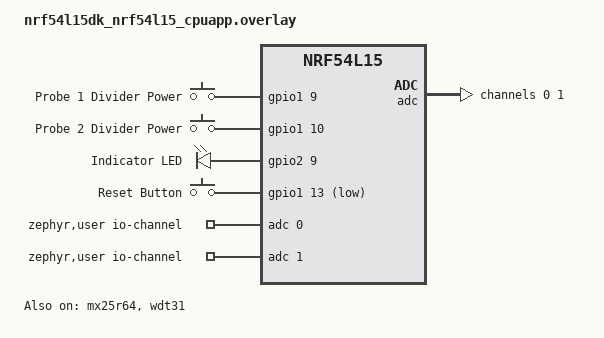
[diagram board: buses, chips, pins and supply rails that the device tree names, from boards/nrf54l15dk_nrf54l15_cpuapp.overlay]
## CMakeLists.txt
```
#
# Copyright (c) 2021 Nordic Semiconductor ASA
#
# SPDX-License-Identifier: LicenseRef-Nordic-5-Clause
#

cmake_minimum_required(VERSION 3.20.0)

find_package(Zephyr HINTS $ENV{ZEPHYR_BASE})

project(dual-temperature-sensor)

# Enable GNU STD support.
include(${ZEPHYR_CONNECTEDHOMEIP_MODULE_DIR}/config/nrfconnect/app/enable-gnu-std.cmake)

# NORDIC SDK APP START

include(cmake/source_common.cmake)
include(cmake/data_model.cmake)
include(cmake/zap_helpers.cmake)
ncs_get_zap_parent_dir(ZAP_PARENT_DIR)

target_include_directories(app PRIVATE
    src
    ${ZAP_PARENT_DIR}
)

target_sources(app PRIVATE
    src/app_task.cpp
    src/main.cpp
    src/DeviceInfoProviderImpl.cpp
)

ncs_configure_data_model()
# NORDIC SDK APP END
```

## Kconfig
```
#
# Copyright (c) 2022 Nordic Semiconductor
#
# SPDX-License-Identifier: LicenseRef-Nordic-5-Clause
#
mainmenu "Matter nRF Connect Template Example Application"

# Sample configuration used for Thread networking
if OPENTHREAD

choice OPENTHREAD_NORDIC_LIBRARY_CONFIGURATION
	default OPENTHREAD_NORDIC_LIBRARY_MTD
endchoice

choice OPENTHREAD_DEVICE_TYPE
	default OPENTHREAD_MTD
endchoice

endif # OPENTHREAD

source "${ZEPHYR_CONNECTEDHOMEIP_MODULE_DIR}/config/nrfconnect/chip-module/Kconfig.features"
source "${ZEPHYR_CONNECTEDHOMEIP_MODULE_DIR}/config/nrfconnect/chip-module/Kconfig.defaults"
source "${ZEPHYR_NRF_MODULE_DIR}/samples/matter/common/src/Kconfig"
source "Kconfig.zephyr"
```

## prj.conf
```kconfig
#
# Copyright (c) 2021 Nordic Semiconductor ASA
#
# SPDX-License-Identifier: LicenseRef-Nordic-5-Clause
#

# This sample uses Kconfig.defaults to set options common for all
# samples. This file should contain only options specific for this sample
# or overrides of default values.

# Enable CHIP
CONFIG_CHIP=y
CONFIG_CHIP_PROJECT_CONFIG="src/chip_project_config.h"

# 32768 == 0x8000 (example Product ID added temporaly,
# but it must be changed with proper PID from the list:
# https://github.com/project-chip/connectedhomeip/blob/482e6fd03196a6de45465a90003947ef4b86e0b1/docs/examples/discussion/PID_allocation_for_example_apps.md)
CONFIG_CHIP_DEVICE_PRODUCT_ID=32768
CONFIG_STD_CPP17=y

# Enable Matter pairing automatically on application start.
CONFIG_CHIP_ENABLE_PAIRING_AUTOSTART=y

# Enable Matter extended announcement and increase duration to 1 hour.
CONFIG_CHIP_BLE_EXT_ADVERTISING=y
CONFIG_CHIP_BLE_ADVERTISING_DURATION=60

# Add support for LEDs and buttons on Nordic development kits
CONFIG_DK_LIBRARY=n

# Bluetooth Low Energy configuration
CONFIG_BT_DEVICE_NAME="DualTempSensor"

# Other settings
CONFIG_THREAD_NAME=y
CONFIG_MPU_STACK_GUARD=y
CONFIG_RESET_ON_FATAL_ERROR=n
CONFIG_CHIP_LIB_SHELL=y
CONFIG_NCS_SAMPLE_MATTER_TEST_SHELL=y

# Disable NFC onboarding
CONFIG_CHIP_NFC_ONBOARDING_PAYLOAD=n

# Enable Factory Data feature
CONFIG_CHIP_FACTORY_DATA=y
CONFIG_CHIP_FACTORY_DATA_BUILD=y

CONFIG_GPIO=y
CONFIG_ADC=y

CONFIG_USE_SEGGER_RTT=y
CONFIG_LOG_MODE_MINIMAL=n
CONFIG_LOG_MODE_IMMEDIATE=y
CONFIG_LOG_BACKEND_RTT=y

CONFIG_CHIP_PERSISTENT_SUBSCRIPTIONS=n

CONFIG_CLOCK_CONTROL_NRF_K32SRC_XTAL=y
CONFIG_CLOCK_CONTROL_NRF_K32SRC_RC=n

CONFIG_BT_RX_STACK_SIZE=2048

CONFIG_OPENTHREAD_DEFAULT_TX_POWER=8
```

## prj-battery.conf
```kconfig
#
# Copyright (c) 2021 Nordic Semiconductor ASA
#
# SPDX-License-Identifier: LicenseRef-Nordic-5-Clause
#

# This sample uses Kconfig.defaults to set options common for all
# samples. This file should contain only options specific for this sample
# or overrides of default values.

# Enable CHIP
CONFIG_CHIP=y
CONFIG_CHIP_PROJECT_CONFIG="src/chip_project_config.h"

# Configure ZAP file name
CONFIG_NCS_SAMPLE_MATTER_ZAP_FILE_PATH="${APPLICATION_CONFIG_DIR}/src/default_zap/template.zap"

# 32768 == 0x8000 (example Product ID added temporaly,
# but it must be changed with proper PID from the list:
# https://github.com/project-chip/connectedhomeip/blob/482e6fd03196a6de45465a90003947ef4b86e0b1/docs/examples/discussion/PID_allocation_for_example_apps.md)
CONFIG_CHIP_DEVICE_PRODUCT_ID=32768
CONFIG_STD_CPP17=y

# Enable Matter pairing automatically on application start.
CONFIG_CHIP_ENABLE_PAIRING_AUTOSTART=y

# Enable Matter extended announcement and increase duration to 1 hour.
CONFIG_CHIP_BLE_EXT_ADVERTISING=y
CONFIG_CHIP_BLE_ADVERTISING_DURATION=60

# Add support for LEDs and buttons on Nordic development kits
CONFIG_DK_LIBRARY=n

# Bluetooth Low Energy configuration
CONFIG_BT_DEVICE_NAME="DualTempSensor"

# Other settings
CONFIG_THREAD_NAME=y
CONFIG_MPU_STACK_GUARD=y
CONFIG_RESET_ON_FATAL_ERROR=n
CONFIG_CHIP_LIB_SHELL=y
CONFIG_NCS_SAMPLE_MATTER_TEST_SHELL=y

# Disable NFC onboarding
CONFIG_CHIP_NFC_ONBOARDING_PAYLOAD=n

# Reduce application size
CONFIG_USE_SEGGER_RTT=y

# Enable Factory Data feature
CONFIG_CHIP_FACTORY_DATA=y
CONFIG_CHIP_FACTORY_DATA_BUILD=y

CONFIG_GPIO=y
CONFIG_ADC=y

# Enabling low power
CONFIG_PM_DEVICE=y

CONFIG_OPENTHREAD_MTD=y
CONFIG_OPENTHREAD_NORDIC_LIBRARY_MTD=y

CONFIG_CHIP_ENABLE_ICD_SUPPORT=y
CONFIG_CHIP_ICD_LIT_SUPPORT=y

CONFIG_RAM_POWER_DOWN_LIBRARY=y

CONFIG_LOG=y
CONFIG_LOG_MODE_MINIMAL=y
CONFIG_LOG_MODE_IMMEDIATE=y
CONFIG_LOG_BACKEND_RTT=y

CONFIG_CHIP_PERSISTENT_SUBSCRIPTIONS=y

CONFIG_CLOCK_CONTROL_NRF_K32SRC_RC=y
CONFIG_CLOCK_CONTROL_NRF_K32SRC_XTAL=n
CONFIG_CLOCK_CONTROL_NRF_K32SRC_RC_CALIBRATION=y
CONFIG_CLOCK_CONTROL_NRF_K32SRC_500PPM=y

CONFIG_BT_RX_STACK_SIZE=2048
```

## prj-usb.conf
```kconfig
#
# Copyright (c) 2021 Nordic Semiconductor ASA
#
# SPDX-License-Identifier: LicenseRef-Nordic-5-Clause
#

# This sample uses Kconfig.defaults to set options common for all
# samples. This file should contain only options specific for this sample
# or overrides of default values.

# Enable CHIP
CONFIG_CHIP=y
CONFIG_CHIP_PROJECT_CONFIG="src/chip_project_config.h"

# Configure ZAP file name
CONFIG_NCS_SAMPLE_MATTER_ZAP_FILE_PATH="${APPLICATION_CONFIG_DIR}/src/default_zap/template.zap"

# 32768 == 0x8000 (example Product ID added temporaly,
# but it must be changed with proper PID from the list:
# https://github.com/project-chip/connectedhomeip/blob/482e6fd03196a6de45465a90003947ef4b86e0b1/docs/examples/discussion/PID_allocation_for_example_apps.md)
CONFIG_CHIP_DEVICE_PRODUCT_ID=32768
CONFIG_STD_CPP17=y

# Enable Matter pairing automatically on application start.
CONFIG_CHIP_ENABLE_PAIRING_AUTOSTART=y

# Enable Matter extended announcement and increase duration to 1 hour.
CONFIG_CHIP_BLE_EXT_ADVERTISING=y
CONFIG_CHIP_BLE_ADVERTISING_DURATION=60

# Add support for LEDs and buttons on Nordic development kits
CONFIG_DK_LIBRARY=n

# Bluetooth Low Energy configuration
CONFIG_BT_DEVICE_NAME="DualTempSensor"

# Other settings
CONFIG_THREAD_NAME=y
CONFIG_MPU_STACK_GUARD=y
CONFIG_RESET_ON_FATAL_ERROR=n
CONFIG_CHIP_LIB_SHELL=y
CONFIG_NCS_SAMPLE_MATTER_TEST_SHELL=y

# Disable NFC onboarding
CONFIG_CHIP_NFC_ONBOARDING_PAYLOAD=n

# Enable Factory Data feature
CONFIG_CHIP_FACTORY_DATA=y
CONFIG_CHIP_FACTORY_DATA_BUILD=y

CONFIG_GPIO=y
CONFIG_ADC=y

CONFIG_LOG=y
CONFIG_LOG_MODE_MINIMAL=y
CONFIG_LOG_MODE_IMMEDIATE=y
CONFIG_LOG_BACKEND_RTT=y

CONFIG_CHIP_PERSISTENT_SUBSCRIPTIONS=y

CONFIG_CLOCK_CONTROL_NRF_K32SRC_RC=y
CONFIG_CLOCK_CONTROL_NRF_K32SRC_XTAL=n
CONFIG_CLOCK_CONTROL_NRF_K32SRC_RC_CALIBRATION=y
CONFIG_CLOCK_CONTROL_NRF_K32SRC_500PPM=y

CONFIG_BT_RX_STACK_SIZE=2048
```

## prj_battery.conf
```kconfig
# Configure ZAP file name
CONFIG_NCS_SAMPLE_MATTER_ZAP_FILE_PATH="${APPLICATION_CONFIG_DIR}/src/zap_battery/template.zap"

# Enabling low power
CONFIG_PM_DEVICE=y

# Switch Minimal Thread Device on
CONFIG_OPENTHREAD_NORDIC_LIBRARY_MTD=y
CONFIG_OPENTHREAD_MTD=y
CONFIG_OPENTHREAD_FTD=n

# Set Matter as Intermittant Connected Device
CONFIG_CHIP_ENABLE_ICD_SUPPORT=y
CONFIG_CHIP_ICD_LIT_SUPPORT=y
CONFIG_CHIP_ICD_REPORT_ON_ACTIVE_MODE=y

# More power saving.
CONFIG_RAM_POWER_DOWN_LIBRARY=y
```

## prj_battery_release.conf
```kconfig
# Configure ZAP file name
CONFIG_NCS_SAMPLE_MATTER_ZAP_FILE_PATH="${APPLICATION_CONFIG_DIR}/src/zap_battery/template.zap"

# Enable system reset on fatal error
CONFIG_RESET_ON_FATAL_ERROR=y

CONFIG_THREAD_NAME=n
CONFIG_MPU_STACK_GUARD=n
CONFIG_CHIP_LIB_SHELL=n
CONFIG_NCS_SAMPLE_MATTER_TEST_SHELL=n

# Disable all debug features
CONFIG_USE_SEGGER_RTT=n
CONFIG_SHELL=n
CONFIG_OPENTHREAD_SHELL=n
CONFIG_CHIP_LIB_SHELL=n
CONFIG_CONSOLE=n
CONFIG_UART_CONSOLE=n
CONFIG_SERIAL=n
CONFIG_LOG=n
CONFIG_LOG_BACKEND_RTT=n
CONFIG_ASSERT_VERBOSE=n
CONFIG_ASSERT_NO_FILE_INFO=y
CONFIG_PRINTK=n
CONFIG_PRINTK_SYNC=n
CONFIG_THREAD_NAME=n
CONFIG_BOOT_BANNER=n

# Enable Watchdog
CONFIG_NCS_SAMPLE_MATTER_WATCHDOG=n

# Enable LTO to decrease the flash usage.
CONFIG_LTO=y
CONFIG_ISR_TABLES_LOCAL_DECLARATION=y

# Enabling low power
CONFIG_PM_DEVICE=y
CONFIG_PM_DEVICE_RUNTIME=y

CONFIG_OPENTHREAD_MTD=y
CONFIG_OPENTHREAD_NORDIC_LIBRARY_MTD=y

CONFIG_CHIP_ENABLE_ICD_SUPPORT=y
CONFIG_CHIP_ICD_LIT_SUPPORT=y
CONFIG_CHIP_ICD_REPORT_ON_ACTIVE_MODE=y

CONFIG_RAM_POWER_DOWN_LIBRARY=y
```

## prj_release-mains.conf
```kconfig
#
# Copyright (c) 2021 Nordic Semiconductor ASA
#
# SPDX-License-Identifier: LicenseRef-Nordic-5-Clause
#

# This sample uses Kconfig.defaults to set options common for all
# samples. This file should contain only options specific for this sample
# or overrides of default values.

# Enable CHIP
CONFIG_CHIP=y
CONFIG_CHIP_PROJECT_CONFIG="src/chip_project_config.h"

# Configure ZAP file name
CONFIG_NCS_SAMPLE_MATTER_ZAP_FILE_PATH="${APPLICATION_CONFIG_DIR}/src/default_zap/template.zap"

# 32768 == 0x8000 (example Product ID added temporaly,
# but it must be changed with proper PID from the list:
# https://github.com/project-chip/connectedhomeip/blob/482e6fd03196a6de45465a90003947ef4b86e0b1/docs/examples/discussion/PID_allocation_for_example_apps.md)
CONFIG_CHIP_DEVICE_PRODUCT_ID=32768
CONFIG_STD_CPP17=y

# Enable Matter pairing automatically on application start.
CONFIG_CHIP_ENABLE_PAIRING_AUTOSTART=y

# Enable Matter extended announcement and increase duration to 1 hour.
CONFIG_CHIP_BLE_EXT_ADVERTISING=y
CONFIG_CHIP_BLE_ADVERTISING_DURATION=60

# Add support for LEDs and buttons on Nordic development kits
CONFIG_DK_LIBRARY=y

# Bluetooth Low Energy configuration
CONFIG_BT_DEVICE_NAME="DualTempSensor"

# Enable system reset on fatal error
CONFIG_RESET_ON_FATAL_ERROR=y

# Disable all debug features
CONFIG_USE_SEGGER_RTT=n
CONFIG_SHELL=n
CONFIG_OPENTHREAD_SHELL=n
CONFIG_CHIP_LIB_SHELL=n
CONFIG_CONSOLE=n
CONFIG_UART_CONSOLE=n
CONFIG_SERIAL=n
CONFIG_LOG=n
CONFIG_LOG_MODE_MINIMAL=n
CONFIG_ASSERT_VERBOSE=n
CONFIG_ASSERT_NO_FILE_INFO=y
CONFIG_PRINTK=n
CONFIG_PRINTK_SYNC=n
CONFIG_THREAD_NAME=n
CONFIG_BOOT_BANNER=n

# Disable NFC onboarding
CONFIG_CHIP_NFC_ONBOARDING_PAYLOAD=n

# Enable Factory Data feature
CONFIG_CHIP_FACTORY_DATA=y
CONFIG_CHIP_FACTORY_DATA_BUILD=y

# Enable Watchdog
CONFIG_NCS_SAMPLE_MATTER_WATCHDOG=y

# Enable LTO to decrease the flash usage.
CONFIG_LTO=y
CONFIG_ISR_TABLES_LOCAL_DECLARATION=y

CONFIG_GPIO=y
CONFIG_ADC=y

# Enabling low power
CONFIG_PM_DEVICE=y

CONFIG_OPENTHREAD_MTD=y
CONFIG_OPENTHREAD_NORDIC_LIBRARY_MTD=y

CONFIG_CHIP_ENABLE_ICD_SUPPORT=y
CONFIG_CHIP_ICD_LIT_SUPPORT=y

CONFIG_RAM_POWER_DOWN_LIBRARY=y
```

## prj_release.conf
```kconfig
#
# Copyright (c) 2021 Nordic Semiconductor ASA
#
# SPDX-License-Identifier: LicenseRef-Nordic-5-Clause
#

# This sample uses Kconfig.defaults to set options common for all
# samples. This file should contain only options specific for this sample
# or overrides of default values.

# Enable CHIP
CONFIG_CHIP=y
CONFIG_CHIP_PROJECT_CONFIG="src/chip_project_config.h"

# Configure ZAP file name
CONFIG_NCS_SAMPLE_MATTER_ZAP_FILE_PATH="${APPLICATION_CONFIG_DIR}/src/default_zap/template.zap"

# 32768 == 0x8000 (example Product ID added temporaly,
# but it must be changed with proper PID from the list:
# https://github.com/project-chip/connectedhomeip/blob/482e6fd03196a6de45465a90003947ef4b86e0b1/docs/examples/discussion/PID_allocation_for_example_apps.md)
CONFIG_CHIP_DEVICE_PRODUCT_ID=32768
CONFIG_STD_CPP17=y

# Enable Matter pairing automatically on application start.
CONFIG_CHIP_ENABLE_PAIRING_AUTOSTART=y

# Enable Matter extended announcement and increase duration to 1 hour.
CONFIG_CHIP_BLE_EXT_ADVERTISING=y
CONFIG_CHIP_BLE_ADVERTISING_DURATION=60

# Add support for LEDs and buttons on Nordic development kits
CONFIG_DK_LIBRARY=y

# Bluetooth Low Energy configuration
CONFIG_BT_DEVICE_NAME="DualTempSensor"

# Enable system reset on fatal error
CONFIG_RESET_ON_FATAL_ERROR=y

# Disable all debug features
CONFIG_USE_SEGGER_RTT=n
CONFIG_SHELL=n
CONFIG_OPENTHREAD_SHELL=n
CONFIG_CHIP_LIB_SHELL=n
CONFIG_CONSOLE=n
CONFIG_UART_CONSOLE=n
CONFIG_SERIAL=n
CONFIG_LOG=n
CONFIG_LOG_MODE_MINIMAL=n
CONFIG_ASSERT_VERBOSE=n
CONFIG_ASSERT_NO_FILE_INFO=y
CONFIG_PRINTK=n
CONFIG_PRINTK_SYNC=n
CONFIG_THREAD_NAME=n
CONFIG_BOOT_BANNER=n

# Disable NFC onboarding
CONFIG_CHIP_NFC_ONBOARDING_PAYLOAD=n

# Enable Factory Data feature
CONFIG_CHIP_FACTORY_DATA=y
CONFIG_CHIP_FACTORY_DATA_BUILD=y

# Enable Watchdog
CONFIG_NCS_SAMPLE_MATTER_WATCHDOG=y

# Enable LTO to decrease the flash usage.
CONFIG_LTO=y
CONFIG_ISR_TABLES_LOCAL_DECLARATION=y

CONFIG_GPIO=y
CONFIG_ADC=y

# Enabling low power
CONFIG_PM_DEVICE=y

CONFIG_OPENTHREAD_MTD=y
CONFIG_OPENTHREAD_NORDIC_LIBRARY_MTD=y

CONFIG_CHIP_ENABLE_ICD_SUPPORT=y
CONFIG_CHIP_ICD_LIT_SUPPORT=y

CONFIG_RAM_POWER_DOWN_LIBRARY=y

CONFIG_SERIAL=n
```

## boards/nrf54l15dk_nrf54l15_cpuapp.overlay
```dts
/*
 * Copyright (c) 2024 Nordic Semiconductor ASA
 *
 * SPDX-License-Identifier: LicenseRef-Nordic-5-Clause
 */

/ {
	power {
		compatible = "gpio-keys";
		probe_1_divider_power: probe_1_divider_power {
			gpios = <&gpio1 9 (GPIO_PULL_DOWN | GPIO_ACTIVE_HIGH)>;
			label = "Probe 1 Divider Power";
		};
		probe_2_divider_power: probe_2_divider_power {
			gpios = <&gpio1 10 (GPIO_PULL_DOWN | GPIO_ACTIVE_HIGH)>;
			label = "Probe 2 Divider Power";
		};
	};

	leds {
		compatible = "gpio-leds";
		led0: led_0 {
			gpios = <&gpio2 9 GPIO_ACTIVE_HIGH>;
			label = "Indicator LED";
		};
	};

	buttons {
		compatible = "gpio-keys";
		button0: button_0 {
			gpios = <&gpio1 13 (GPIO_PULL_UP | GPIO_ACTIVE_LOW)>;
			label = "Reset Button";
		};
	};

	aliases {
		// Use watchdog wdt31 as the application watchdog
		watchdog0 = &wdt31;
		indicator-led = &led0;
		reset-button = &button0;
	};

	chosen {
	 	nordic,pm-ext-flash = &mx25r64;
	};

	zephyr,user {
		io-channels = <&adc 0>, <&adc 1>;
	};
};

&adc {
	#address-cells = <1>;
	#size-cells = <0>;
    status = "okay";

	channel@0 {
		reg = <0>;
		zephyr,gain = "ADC_GAIN_1_2";
		zephyr,reference = "ADC_REF_INTERNAL";
		zephyr,acquisition-time = <ADC_ACQ_TIME_DEFAULT>;
		zephyr,input-positive = <NRF_SAADC_AIN5>;
		zephyr,resolution = <12>;
		zephyr,oversampling = <8>;
	};

	channel@1 {
		reg = <1>;
		zephyr,gain = "ADC_GAIN_1_2";
		zephyr,reference = "ADC_REF_INTERNAL";
		zephyr,acquisition-time = <ADC_ACQ_TIME_DEFAULT>;
		zephyr,input-positive = <NRF_SAADC_AIN4>;
		zephyr,resolution = <12>;
		zephyr,oversampling = <8>;
	};
};

// restore full RRAM and SRAM space - by default some parts are dedicated to FLRP
&cpuapp_rram {
	reg = <0x0 DT_SIZE_K(1524)>;
};

&cpuapp_sram {
	reg = <0x20000000 DT_SIZE_K(256)>;
	ranges = <0x0 0x20000000  0x40000>;
};

&uart20 {
	status = "disabled";
};

&uart30 {
	status = "disabled";
};

&mx25r64 {
	status = "okay";
};

&wdt31 {
	status = "okay";
};

&pwm20 {
	status = "disabled";
};
```

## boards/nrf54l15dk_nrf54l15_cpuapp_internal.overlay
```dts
/*
 * Copyright (c) 2024 Nordic Semiconductor ASA
 *
 * SPDX-License-Identifier: LicenseRef-Nordic-5-Clause
 */

/ {
	power {
		compatible = "gpio-keys";
		probe_1_divider_power: probe_1_divider_power {
			gpios = <&gpio1 9 (GPIO_PULL_DOWN | GPIO_ACTIVE_HIGH)>;
			label = "Probe 1 Divider Power";
		};
		probe_2_divider_power: probe_2_divider_power {
			gpios = <&gpio1 10 (GPIO_PULL_DOWN | GPIO_ACTIVE_HIGH)>;
			label = "Probe 2 Divider Power";
		};
	};

	leds {
		compatible = "gpio-leds";
		led0: led_0 {
			gpios = <&gpio2 9 GPIO_ACTIVE_HIGH>;
			label = "Indicator LED";
		};
	};

	buttons {
		compatible = "gpio-keys";
		button0: button_0 {
			gpios = <&gpio1 13 (GPIO_PULL_UP | GPIO_ACTIVE_LOW)>;
			label = "Reset Button";
		};
	};

	aliases {
		// Use watchdog wdt31 as the application watchdog
		watchdog0 = &wdt31;
		indicator-led = &led0;
		reset-button = &button0;
	};

	zephyr,user {
		io-channels = <&adc 0>, <&adc 1>;
	};
};

&adc {
	#address-cells = <1>;
	#size-cells = <0>;
    status = "okay";

	channel@0 {
		reg = <0>;
		zephyr,gain = "ADC_GAIN_1_2";
		zephyr,reference = "ADC_REF_INTERNAL";
		zephyr,acquisition-time = <ADC_ACQ_TIME_DEFAULT>;
		zephyr,input-positive = <NRF_SAADC_AIN5>;
		zephyr,resolution = <12>;
		zephyr,oversampling = <8>;
	};

	channel@1 {
		reg = <1>;
		zephyr,gain = "ADC_GAIN_1_2";
		zephyr,reference = "ADC_REF_INTERNAL";
		zephyr,acquisition-time = <ADC_ACQ_TIME_DEFAULT>;
		zephyr,input-positive = <NRF_SAADC_AIN4>;
		zephyr,resolution = <12>;
		zephyr,oversampling = <8>;
	};
};

// restore full RRAM and SRAM space - by default some parts are dedicated to FLRP
&cpuapp_rram {
	reg = <0x0 DT_SIZE_K(1524)>;
};

&cpuapp_sram {
	reg = <0x20000000 DT_SIZE_K(256)>;
	ranges = <0x0 0x20000000  0x40000>;
};

&uart20 {
	status = "disabled";
};

&uart30 {
	status = "disabled";
};

&mx25r64 {
	status = "disabled";
};

&pwm20 {
	status = "disabled";
};

&wdt31 {
	status = "okay";
};
```

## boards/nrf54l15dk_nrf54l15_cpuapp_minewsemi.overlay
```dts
/*
 * Copyright (c) 2024 Nordic Semiconductor ASA
 *
 * SPDX-License-Identifier: LicenseRef-Nordic-5-Clause
 */

/ {
	power {
		compatible = "gpio-keys";
		probe_1_divider_power: probe_1_divider_power {
			gpios = <&gpio1 9 (GPIO_PULL_DOWN | GPIO_ACTIVE_HIGH)>;
			label = "Probe 1 Divider Power";
		};
		probe_2_divider_power: probe_2_divider_power {
			gpios = <&gpio1 10 (GPIO_PULL_DOWN | GPIO_ACTIVE_HIGH)>;
			label = "Probe 2 Divider Power";
		};
	};

	leds {
		compatible = "gpio-leds";
		led0: led_0 {
			gpios = <&gpio2 10 (GPIO_PULL_DOWN | GPIO_ACTIVE_HIGH)>;
			label = "Indicator LED";
		};
	};

	buttons {
		compatible = "gpio-keys";
		button0: button_0 {
			gpios = <&gpio1 13 (GPIO_PULL_DOWN | GPIO_ACTIVE_HIGH)>;
			label = "Reset Button";
		};
	};

	aliases {
		indicator-led = &led0;
		reset-button = &button0;
	};

	zephyr,user {
		io-channels = <&adc 0>, <&adc 1>;
	};
};

&adc {
	#address-cells = <1>;
	#size-cells = <0>;
    status = "okay";

	channel@0 {
		reg = <0>;
		zephyr,gain = "ADC_GAIN_1_2";
		zephyr,reference = "ADC_REF_INTERNAL";
		zephyr,acquisition-time = <ADC_ACQ_TIME_DEFAULT>;
		zephyr,input-positive = <NRF_SAADC_AIN5>;
		zephyr,resolution = <12>;
		zephyr,oversampling = <8>;
	};

	channel@1 {
		reg = <1>;
		zephyr,gain = "ADC_GAIN_1_2";
		zephyr,reference = "ADC_REF_INTERNAL";
		zephyr,acquisition-time = <ADC_ACQ_TIME_DEFAULT>;
		zephyr,input-positive = <NRF_SAADC_AIN4>;
		zephyr,resolution = <12>;
		zephyr,oversampling = <8>;
	};
};

// restore full RRAM and SRAM space - by default some parts are dedicated to FLRP
&cpuapp_rram {
	reg = <0x0 DT_SIZE_K(1524)>;
};

&cpuapp_sram {
	reg = <0x20000000 DT_SIZE_K(256)>;
	ranges = <0x0 0x20000000  0x40000>;
};

/* Disable unused communication peripherals */
&i2c20 {
	status = "disabled";
};

&i2c21 {
	status = "disabled";
};

&i2c22 {
	status = "disabled";
};

&spi20 {
	status = "disabled";
};

&spi21 {
	status = "disabled";
};

&spi22 {
	status = "disabled";
};

&uart20 {
	status = "disabled";
};

&uart21 {
	status = "disabled";
};

&uart22 {
	status = "disabled";
};

&uart30 {
	status = "disabled";
};

&mx25r64 {
	status = "disabled";
};

/* Disable audio/sensor peripherals if not used */
&pdm20 {
	status = "disabled";
};

&pdm21 {
	status = "disabled";
};

&i2s20 {
	status = "disabled";
};

/* Disable quadrature decoder if not used */
&qdec20 {
	status = "disabled";
};

&qdec21 {
	status = "disabled";
};

&pwm20 {
	status = "disabled";
};

&pwm21 {
	status = "disabled";
};

&pwm22 {
	status = "disabled";
};

&wdt31 {
	status = "disabled";
};

/* Disable NFC if not used */
&nfct {
	status = "disabled";
};
```

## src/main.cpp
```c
/*
 * Copyright (c) 2021 Nordic Semiconductor ASA
 *
 * SPDX-License-Identifier: LicenseRef-Nordic-5-Clause
 */

#include "app_task.h"
#include <zephyr/pm/device.h>
#include <zephyr/logging/log.h>

LOG_MODULE_REGISTER(app, CONFIG_CHIP_APP_LOG_LEVEL);

int main()
{
	CHIP_ERROR err = AppTask::Instance().StartApp();

	LOG_ERR("Exited with code %" CHIP_ERROR_FORMAT, err.Format());
	return err == CHIP_NO_ERROR ? EXIT_SUCCESS : EXIT_FAILURE;
}
```

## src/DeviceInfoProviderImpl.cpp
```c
/*
 *
 *    Copyright (c) 2022 Project CHIP Authors
 *
 *    Licensed under the Apache License, Version 2.0 (the "License");
 *    you may not use this file except in compliance with the License.
 *    You may obtain a copy of the License at
 *
 *        http://www.apache.org/licenses/LICENSE-2.0
 *
 *    Unless required by applicable law or agreed to in writing, software
 *    distributed under the License is distributed on an "AS IS" BASIS,
 *    WITHOUT WARRANTIES OR CONDITIONS OF ANY KIND, either express or implied.
 *    See the License for the specific language governing permissions and
 *    limitations under the License.
 */
#include <DeviceInfoProviderImpl.h>

#include <lib/core/TLV.h>
#include <lib/support/CHIPMemString.h>
#include <lib/support/CodeUtils.h>
#include <lib/support/DefaultStorageKeyAllocator.h>
#include <lib/support/SafeInt.h>
#include <platform/internal/CHIPDeviceLayerInternal.h>

#include <stdlib.h>
#include <string.h>

#include <cstring>

namespace chip
{
    namespace DeviceLayer
    {

        namespace
        {
            constexpr TLV::Tag kLabelNameTag = TLV::ContextTag(0);
            constexpr TLV::Tag kLabelValueTag = TLV::ContextTag(1);
        } // anonymous namespace

        DeviceInfoProviderImpl &DeviceInfoProviderImpl::GetDefaultInstance()
        {
            static DeviceInfoProviderImpl sInstance;
            return sInstance;
        }

        DeviceInfoProvider::FixedLabelIterator *DeviceInfoProviderImpl::IterateFixedLabel(EndpointId endpoint)
        {
            return chip::Platform::New<FixedLabelIteratorImpl>(endpoint);
        }

        DeviceInfoProviderImpl::FixedLabelIteratorImpl::FixedLabelIteratorImpl(EndpointId endpoint) : mEndpoint(endpoint)
        {
            mIndex = 0;
        }

        size_t DeviceInfoProviderImpl::FixedLabelIteratorImpl::Count()
        {
            return 1;
        }

        bool DeviceInfoProviderImpl::FixedLabelIteratorImpl::Next(FixedLabelType &output)
        {
            bool retval = true;

            // A hardcoded list for testing only
            CHIP_ERROR err = CHIP_NO_ERROR;

            const char *labelPtr = nullptr;
            const char *valuePtr = nullptr;

            VerifyOrReturnError(mIndex < 1, false);

            ChipLogProgress(DeviceLayer, "Get the fixed label with index:%u at endpoint:%d", static_cast<unsigned>(mIndex), mEndpoint);

            if (mIndex == 0)
            {
                labelPtr = "name";

                if (mEndpoint == 1)
                {
                    valuePtr = "Probe 1";
                }
                else
                {
                    valuePtr = "Probe 2";
                }
            }
            else
            {
                err = CHIP_ERROR_PERSISTED_STORAGE_VALUE_NOT_FOUND;
            }

            if (err == CHIP_NO_ERROR)
            {
                VerifyOrReturnError(std::strlen(labelPtr) <= kMaxLabelNameLength, false);
                VerifyOrReturnError(std::strlen(valuePtr) <= kMaxLabelValueLength, false);

                Platform::CopyString(mFixedLabelNameBuf, kMaxLabelNameLength + 1, labelPtr);
                Platform::CopyString(mFixedLabelValueBuf, kMaxLabelValueLength + 1, valuePtr);

                output.label = CharSpan::fromCharString(mFixedLabelNameBuf);
                output.value = CharSpan::fromCharString(mFixedLabelValueBuf);

                mIndex++;

                retval = true;
            }
            else
            {
                retval = false;
            }

            return retval;
        }

        CHIP_ERROR DeviceInfoProviderImpl::SetUserLabelLength(EndpointId endpoint, size_t val)
        {
            return mStorage->SyncSetKeyValue(DefaultStorageKeyAllocator::UserLabelLengthKey(endpoint).KeyName(), &val,
                                             static_cast<uint16_t>(sizeof(val)));
        }

        CHIP_ERROR DeviceInfoProviderImpl::GetUserLabelLength(EndpointId endpoint, size_t &val)
        {
            uint16_t len = static_cast<uint16_t>(sizeof(val));

            return mStorage->SyncGetKeyValue(DefaultStorageKeyAllocator::UserLabelLengthKey(endpoint).KeyName(), &val, len);
        }

        CHIP_ERROR DeviceInfoProviderImpl::SetUserLabelAt(EndpointId endpoint, size_t index, const UserLabelType &userLabel)
        {
            VerifyOrReturnError(CanCastTo<uint32_t>(index), CHIP_ERROR_INVALID_ARGUMENT);

            uint8_t buf[UserLabelTLVMaxSize()];
            TLV::TLVWriter writer;
            writer.Init(buf);

            TLV::TLVType outerType;
            ReturnErrorOnFailure(writer.StartContainer(TLV::AnonymousTag(), TLV::kTLVType_Structure, outerType));
            ReturnErrorOnFailure(writer.PutString(kLabelNameTag, userLabel.label));
            ReturnErrorOnFailure(writer.PutString(kLabelValueTag, userLabel.value));
            ReturnErrorOnFailure(writer.EndContainer(outerType));

            return mStorage->SyncSetKeyValue(
                DefaultStorageKeyAllocator::UserLabelIndexKey(endpoint, static_cast<uint32_t>(index)).KeyName(), buf,
                static_cast<uint16_t>(writer.GetLengthWritten()));
        }

        CHIP_ERROR DeviceInfoProviderImpl::DeleteUserLabelAt(EndpointId endpoint, size_t index)
        {
            return mStorage->SyncDeleteKeyValue(
                DefaultStorageKeyAllocator::UserLabelIndexKey(endpoint, static_cast<uint32_t>(index)).KeyName());
        }

        DeviceInfoProvider::UserLabelIterator *DeviceInfoProviderImpl::IterateUserLabel(EndpointId endpoint)
        {
            return chip::Platform::New<UserLabelIteratorImpl>(*this, endpoint);
        }

        DeviceInfoProviderImpl::UserLabelIteratorImpl::UserLabelIteratorImpl(DeviceInfoProviderImpl &provider, EndpointId endpoint) : mProvider(provider), mEndpoint(endpoint)
        {
            size_t total = 0;

            ReturnOnFailure(mProvider.GetUserLabelLength(mEndpoint, total));
            mTotal = total;
            mIndex = 0;
        }

        bool DeviceInfoProviderImpl::UserLabelIteratorImpl::Next(UserLabelType &output)
        {
            CHIP_ERROR err = CHIP_NO_ERROR;

            VerifyOrReturnError(mIndex < mTotal, false);
            VerifyOrReturnError(CanCastTo<uint32_t>(mIndex), false);

            uint8_t buf[UserLabelTLVMaxSize()];
            uint16_t len = static_cast<uint16_t>(sizeof(buf));

            err = mProvider.mStorage->SyncGetKeyValue(
                DefaultStorageKeyAllocator::UserLabelIndexKey(mEndpoint, static_cast<uint32_t>(mIndex)).KeyName(), buf, len);
            VerifyOrReturnError(err == CHIP_NO_ERROR, false);

            TLV::ContiguousBufferTLVReader reader;
            reader.Init(buf);
            err = reader.Next(TLV::kTLVType_Structure, TLV::AnonymousTag());
            VerifyOrReturnError(err == CHIP_NO_ERROR, false);

            TLV::TLVType containerType;
            VerifyOrReturnError(reader.EnterContainer(containerType) == CHIP_NO_ERROR, false);

            chip::CharSpan label;
            chip::CharSpan value;

            VerifyOrReturnError(reader.Next(kLabelNameTag) == CHIP_NO_ERROR, false);
            VerifyOrReturnError(reader.Get(label) == CHIP_NO_ERROR, false);

            VerifyOrReturnError(reader.Next(kLabelValueTag) == CHIP_NO_ERROR, false);
            VerifyOrReturnError(reader.Get(value) == CHIP_NO_ERROR, false);

            VerifyOrReturnError(reader.VerifyEndOfContainer() == CHIP_NO_ERROR, false);
            VerifyOrReturnError(reader.ExitContainer(containerType) == CHIP_NO_ERROR, false);

            Platform::CopyString(mUserLabelNameBuf, label);
            Platform::CopyString(mUserLabelValueBuf, value);

            output.label = CharSpan::fromCharString(mUserLabelNameBuf);
            output.value = CharSpan::fromCharString(mUserLabelValueBuf);

            mIndex++;

            return true;
        }

        DeviceInfoProvider::SupportedLocalesIterator *DeviceInfoProviderImpl::IterateSupportedLocales()
        {
            return chip::Platform::New<SupportedLocalesIteratorImpl>();
        }

        size_t DeviceInfoProviderImpl::SupportedLocalesIteratorImpl::Count()
        {
            // Hardcoded list of locales
            // {("en-US"), ("de-DE"), ("fr-FR"), ("en-GB"), ("es-ES"), ("zh-CN"), ("it-IT"), ("ja-JP")}

            return 8;
        }

        bool DeviceInfoProviderImpl::SupportedLocalesIteratorImpl::Next(CharSpan &output)
        {
            bool retval = true;

            // Hardcoded list of locales
            CHIP_ERROR err = CHIP_NO_ERROR;

            const char *activeLocalePtr = nullptr;

            VerifyOrReturnError(mIndex < 8, false);

            switch (mIndex)
            {
            case 0:
                activeLocalePtr = "en-US";
                break;
            case 1:
                activeLocalePtr = "de-DE";
                break;
            case 2:
                activeLocalePtr = "fr-FR";
                break;
            case 3:
                activeLocalePtr = "en-GB";
                break;
            case 4:
                activeLocalePtr = "es-ES";
                break;
            case 5:
                activeLocalePtr = "zh-CN";
                break;
            case 6:
                activeLocalePtr = "it-IT";
                break;
            case 7:
                activeLocalePtr = "ja-JP";
                break;
            default:
                err = CHIP_ERROR_PERSISTED_STORAGE_VALUE_NOT_FOUND;
                break;
            }

            if (err == CHIP_NO_ERROR)
            {
                VerifyOrReturnError(std::strlen(activeLocalePtr) <= kMaxActiveLocaleLength, false);

                Platform::CopyString(mActiveLocaleBuf, kMaxActiveLocaleLength + 1, activeLocalePtr);

                output = CharSpan::fromCharString(mActiveLocaleBuf);

                mIndex++;

                retval = true;
            }
            else
            {
                retval = false;
            }

            return retval;
        }

        DeviceInfoProvider::SupportedCalendarTypesIterator *DeviceInfoProviderImpl::IterateSupportedCalendarTypes()
        {
            return chip::Platform::New<SupportedCalendarTypesIteratorImpl>();
        }

        size_t DeviceInfoProviderImpl::SupportedCalendarTypesIteratorImpl::Count()
        {
            // Hardcoded list of strings
            // {("kBuddhist"), ("kChinese"), ("kCoptic"), ("kEthiopian"), ("kGregorian"), ("kHebrew"), ("kIndian"), ("kJapanese"),
            //  ("kKorean"), ("kPersian"), ("kTaiwanese"), ("kIslamic")}

            return 12;
        }

        bool DeviceInfoProviderImpl::SupportedCalendarTypesIteratorImpl::Next(CalendarType &output)
        {
            bool retval = true;

            // Hardcoded list of Strings that are valid values for the Calendar Types.
            CHIP_ERROR err = CHIP_NO_ERROR;

            VerifyOrReturnError(mIndex < 12, false);

            switch (mIndex)
            {
            case 0:
                output = app::Clusters::TimeFormatLocalization::CalendarTypeEnum::kBuddhist;
                break;
            case 1:
                output = app::Clusters::TimeFormatLocalization::CalendarTypeEnum::kChinese;
                break;
            case 2:
                output = app::Clusters::TimeFormatLocalization::CalendarTypeEnum::kCoptic;
                break;
            case 3:
                output = app::Clusters::TimeFormatLocalization::CalendarTypeEnum::kEthiopian;
                break;
            case 4:
                output = app::Clusters::TimeFormatLocalization::CalendarTypeEnum::kGregorian;
                break;
            case 5:
                output = app::Clusters::TimeFormatLocalization::CalendarTypeEnum::kHebrew;
                break;
            case 6:
                output = app::Clusters::TimeFormatLocalization::CalendarTypeEnum::kIndian;
                break;
            case 7:
                output = app::Clusters::TimeFormatLocalization::CalendarTypeEnum::kJapanese;
                break;
            case 8:
                output = app::Clusters::TimeFormatLocalization::CalendarTypeEnum::kKorean;
                break;
            case 9:
                output = app::Clusters::TimeFormatLocalization::CalendarTypeEnum::kPersian;
                break;
            case 10:
                output = app::Clusters::TimeFormatLocalization::CalendarTypeEnum::kTaiwanese;
                break;
            case 11:
                output = app::Clusters::TimeFormatLocalization::CalendarTypeEnum::kIslamic;
                break;
            default:
                err = CHIP_ERROR_PERSISTED_STORAGE_VALUE_NOT_FOUND;
                break;
            }

            if (err == CHIP_NO_ERROR)
            {
                mIndex++;
                retval = true;
            }
            else
            {
                retval = false;
            }

            return retval;
        }

    } // namespace DeviceLayer
} // namespace chip
```

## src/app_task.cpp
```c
/*
 * Copyright (c) 2021 Nordic Semiconductor ASA
 *
 * SPDX-License-Identifier: LicenseRef-Nordic-5-Clause
 */

#include "app_task.h"

#include "app/matter_init.h"
#include "app/task_executor.h"
#include "board/board.h"
#include "lib/core/CHIPError.h"
#include "lib/support/CodeUtils.h"

#include <setup_payload/OnboardingCodesUtil.h>

#include <zephyr/logging/log.h>

#include <zephyr/device.h>
#include <zephyr/devicetree.h>
#include <zephyr/drivers/adc.h>
#include <zephyr/drivers/gpio.h>
#include <math.h>

#include "DeviceInfoProviderImpl.h"

#include <app-common/zap-generated/callback.h>
#include <app-common/zap-generated/attributes/Accessors.h>
#include <app/clusters/identify-server/identify-server.h>
#include <app/clusters/power-source-server/power-source-server.h>

LOG_MODULE_DECLARE(app, CONFIG_CHIP_APP_LOG_LEVEL);

using namespace ::chip;
using namespace ::chip::app;
using namespace ::chip::DeviceLayer;

k_timer sIndicatorTimer;
k_timer sSensorTimer;
k_timer sFactoryResetTimer;
bool mIndicatorState;

#if !DT_NODE_EXISTS(DT_PATH(zephyr_user)) || !DT_NODE_HAS_PROP(DT_PATH(zephyr_user), io_channels)
#error "No suitable devicetree overlay specified"
#endif

#define SENSOR_READ_INTERVAL 5000

// TODO Move this to configuration (Maybe even Matter?), so they can be easily changed.
//
#define THERMISTORNOMINAL 10000
#define TEMPERATURENOMINAL 25
#define BCOEFFICIENT 3977
#define SERIESRESISTOR 10000
#define REFVOLTAGE 2200

#define DT_SPEC_AND_COMMA(node_id, prop, idx) ADC_DT_SPEC_GET_BY_IDX(node_id, idx),

static const struct adc_dt_spec adc_channels[] = {
	DT_FOREACH_PROP_ELEM(DT_PATH(zephyr_user), io_channels, DT_SPEC_AND_COMMA)};

#define PROBE_1_DIVIDER_POWER_NODE DT_NODELABEL(probe_1_divider_power)
#define PROBE_2_DIVIDER_POWER_NODE DT_NODELABEL(probe_2_divider_power)

#define INDICATOR_LED_NODE DT_ALIAS(indicator_led)
#define RESET_BUTTON_NODE DT_ALIAS(reset_button)

static const struct gpio_dt_spec probe_1_divider_power = GPIO_DT_SPEC_GET(PROBE_1_DIVIDER_POWER_NODE, gpios);
static const struct gpio_dt_spec probe_2_divider_power = GPIO_DT_SPEC_GET(PROBE_2_DIVIDER_POWER_NODE, gpios);

static const struct gpio_dt_spec indicator_led = GPIO_DT_SPEC_GET(INDICATOR_LED_NODE, gpios);
static const struct gpio_dt_spec reset_button = GPIO_DT_SPEC_GET(RESET_BUTTON_NODE, gpios);

constexpr EndpointId kLightEndpointId = 0;

Identify sIdentify = {kLightEndpointId, AppTask::IdentifyStartHandler, AppTask::IdentifyStopHandler, Clusters::Identify::IdentifyTypeEnum::kVisibleIndicator};

/// @brief This function is called when an identify start command is received. It will rapidly blink the indicator LED.
/// @param
void AppTask::IdentifyStartHandler(Identify *)
{
	k_timer_stop(&sIndicatorTimer);
	k_timer_start(&sIndicatorTimer, K_MSEC(500), K_MSEC(500));
}

/// @brief This function is called when an identify stop command is received. It will turn off the indicator LED.
/// @param
void AppTask::IdentifyStopHandler(Identify *)
{
	k_timer_stop(&sIndicatorTimer);
	gpio_pin_set_dt(&indicator_led, 0);
}

/// @brief This callback is called when the sensor timer expires. It will post a task to read the temperature sensors.
/// @param timer
void AppTask::SensorTimerCallback(k_timer *timer)
{
	Nrf::PostTask([]
				  { AppTask::SensorMeasureHandler(); });
}

void AppTask::IndicatorTimerCallback(k_timer *timer)
{
	// LOG_DBG("LED Indicator: %d", mIndicatorState);

	mIndicatorState = !mIndicatorState;

	gpio_pin_set_dt(&indicator_led, mIndicatorState);
}

void AppTask::FactoryResetTimerCallback(k_timer *timer)
{
	LOG_INF("Factory Reset Triggered!");
	gpio_pin_set_dt(&indicator_led, 0);
	chip::Server::GetInstance().ScheduleFactoryReset();
}

void AppTask::MatterEventHandler(const ChipDeviceEvent *event, intptr_t data)
{
	static bool isNetworkProvisioned = false;
	static bool isBleConnected = false;

	switch (event->Type)
	{
	case DeviceEventType::kCHIPoBLEAdvertisingChange:
		isBleConnected = ConnectivityMgr().NumBLEConnections() != 0;
		break;
	case DeviceEventType::kThreadStateChange:
		isNetworkProvisioned = ConnectivityMgrImpl().IsIPv6NetworkProvisioned() && ConnectivityMgrImpl().IsIPv6NetworkEnabled();
		break;
	default:
		break;
	}

	if (isNetworkProvisioned)
	{
		LOG_INF("Network is provisioned!");

		k_timer_stop(&sIndicatorTimer);

		gpio_pin_set_dt(&indicator_led, 0);

		// Wait 1s then fire the timer, then fire every READ_INTERVAL
		k_timer_start(&sSensorTimer, K_MSEC(1000), K_MSEC(SENSOR_READ_INTERVAL));
	}
	else if (isBleConnected)
	{
		LOG_INF("Bluetooth connection opened");
		k_timer_stop(&sIndicatorTimer);
		k_timer_start(&sIndicatorTimer, K_MSEC(200), K_MSEC(200));
	}
	else if (ConnectivityMgr().IsBLEAdvertising())
	{
		LOG_INF("Bluetooth is advertising");
		k_timer_stop(&sIndicatorTimer);
		k_timer_start(&sIndicatorTimer, K_MSEC(1000), K_MSEC(1000));
	}
	else
	{
		LOG_INF("Bluetooth is disconnected");
		k_timer_stop(&sIndicatorTimer);
		k_timer_start(&sIndicatorTimer, K_MSEC(1000), K_MSEC(1000));
	}
}

CHIP_ERROR AppTask::Init()
{
	LOG_INF("Init()");

	ReturnErrorOnFailure(Nrf::Matter::PrepareServer(Nrf::Matter::InitData{.mDeviceInfoProvider = &DeviceInfoProviderImpl::GetDefaultInstance()}));

	k_timer_init(&sIndicatorTimer, &IndicatorTimerCallback, nullptr);
	k_timer_user_data_set(&sIndicatorTimer, this);

	ReturnErrorOnFailure(Nrf::Matter::RegisterEventHandler(AppTask::MatterEventHandler, 0));

	ConfigureGPIO();

	// Turn on the indicator LED to start with.
	// Gives an indication that the device is alive!
	//
	gpio_pin_set_dt(&indicator_led, 1);

	k_sleep(K_SECONDS(1));

	gpio_pin_set_dt(&indicator_led, 0);

	k_timer_init(&sSensorTimer, &SensorTimerCallback, nullptr);
	k_timer_user_data_set(&sSensorTimer, this);

	k_timer_init(&sFactoryResetTimer, &FactoryResetTimerCallback, nullptr);
	k_timer_user_data_set(&sFactoryResetTimer, this);

	return Nrf::Matter::StartServer();
}

CHIP_ERROR AppTask::StartApp()
{
	ReturnErrorOnFailure(Init());

	while (true)
	{
		Nrf::DispatchNextTask();
	}

	return CHIP_NO_ERROR;
}

void AppTask::ResetButtonCallback(const struct device *dev, struct gpio_callback *cb, gpio_port_pins_t pins)
{
	// Check if the button is pressed.
	//
	if (gpio_pin_get_dt(&reset_button) == 1)
	{
		LOG_INF("Reset Button Pushed");

		gpio_pin_set_dt(&indicator_led, 1);

#ifdef CONFIG_CHIP_ICD_UAT_SUPPORT
		LOG_INF("ICD UserActiveMode is enabled. Moving to ActiveMode...");

		chip::DeviceLayer::PlatformMgr().LockChipStack();
		Server::GetInstance().GetICDManager().OnNetworkActivity();
		chip::DeviceLayer::PlatformMgr().UnlockChipStack();

		LOG_INF("Successfully triggered ICD UserActiveMode!");
#endif

		k_timer_start(&sFactoryResetTimer, K_SECONDS(5), K_NO_WAIT);
	}
	else
	{
		LOG_INF("Reset Button Released");

		gpio_pin_set_dt(&indicator_led, 0);
		k_timer_stop(&sFactoryResetTimer);
	}
}

void AppTask::ConfigureGPIO()
{
	if (!gpio_is_ready_dt(&probe_1_divider_power))
	{
		LOG_ERR("Cannot configure Divider 1 Power");
		return;
	}

	int err = gpio_pin_configure_dt(&probe_1_divider_power, GPIO_OUTPUT_INACTIVE);
	if (err != 0)
	{
		LOG_ERR("Configuring Divider 1 Power pin failed (err: %d)", err);
		return;
	}

	if (!gpio_is_ready_dt(&probe_2_divider_power))
	{
		LOG_ERR("Cannot configure Divider 2 Power");
		return;
	}

	err = gpio_pin_configure_dt(&probe_2_divider_power, GPIO_OUTPUT_INACTIVE);
	if (err != 0)
	{
		LOG_ERR("Configuring Divider 2 Power pin failed (err: %d)", err);
		return;
	}

	for (size_t i = 0U; i < ARRAY_SIZE(adc_channels); i++)
	{
		if (!device_is_ready(adc_channels[i].dev))
		{
			LOG_ERR("ADC controller device not ready");
			return;
		}

		err = adc_channel_setup_dt(&adc_channels[i]);

		if (err < 0)
		{
			LOG_ERR("Could not setup channel #%d (%d)", i, err);
			return;
		}

		LOG_INF("Successfully setup ADC channel #%d", i);
	}

	if (!gpio_is_ready_dt(&indicator_led))
	{
		LOG_ERR("Cannot configure indicator LED");
		return;
	}

	err = gpio_pin_configure_dt(&indicator_led, GPIO_OUTPUT_INACTIVE);
	if (err != 0)
	{
		LOG_ERR("Configuring indicator pin failed (err: %d)", err);
		return;
	}

	LOG_INF("Successfully configured indicator LED");

	if (!gpio_is_ready_dt(&reset_button))
	{
		LOG_ERR("Reset button is not ready");
		return;
	}

	err = gpio_pin_configure_dt(&reset_button, GPIO_INPUT | GPIO_ACTIVE_HIGH);

	if (err != 0)
	{
		LOG_ERR("Configuring reset button failed (err: %d)", err);
		return;
	}

	err = gpio_pin_interrupt_configure_dt(&reset_button, GPIO_INT_EDGE_TO_ACTIVE);

	if (err != 0)
	{
		LOG_ERR("Configuring reset button interrupt failed (err: %d)", err);
		return;
	}

	static struct gpio_callback reset_button_cb_data;

	gpio_init_callback(&reset_button_cb_data, AppTask::ResetButtonCallback, BIT(reset_button.pin));

	err = gpio_add_callback(reset_button.port, &reset_button_cb_data);

	if (err != 0)
	{
		LOG_ERR("Adding callback to reset button failed (err: %d)", err);
		return;
	}

	LOG_INF("Successfully configured reset button");
}

uint16_t adc_sequence_buf;

struct adc_sequence adc_sequence = {
	.buffer = &adc_sequence_buf,
	.buffer_size = sizeof(adc_sequence_buf),
	.calibrate = true,
};

double read_probe_temperature(int probe_number)
{
	int channel = probe_number - 1;

	adc_dt_spec adc_channel = adc_channels[channel];

	int err = adc_sequence_init_dt(&adc_channel, &adc_sequence);

	if (err < 0)
	{
		LOG_ERR("Could not initialise ADC%d (%d)", channel, err);
		return -1;
	}

	err = adc_read_dt(&adc_channel, &adc_sequence);

	if (err < 0)
	{
		LOG_ERR("Could not read ADC%d (%d)", channel, err);
		return -1;
	}

	int32_t val_mv = (int32_t)adc_sequence_buf;

	err = adc_raw_to_millivolts_dt(&adc_channel, &val_mv);

	if (err < 0)
	{
		LOG_ERR(" (value in mV not available)\n");
		return -1;
	}

	float resistance = (val_mv * SERIESRESISTOR) / (REFVOLTAGE - val_mv);

	double steinhart;
	steinhart = resistance / THERMISTORNOMINAL;		  // (R/Ro)
	steinhart = log(steinhart);						  // ln(R/Ro)
	steinhart /= BCOEFFICIENT;						  // 1/B * ln(R/Ro)
	steinhart += 1.0 / (TEMPERATURENOMINAL + 273.15); // + (1/To)
	steinhart = 1.0 / steinhart;					  // Invert
	steinhart -= 273.15;							  // Convert to Celcius

	double value = steinhart;

	LOG_INF("CHANNEL #%d: V: %" PRId32 " mV", channel, val_mv);
	// LOG_INF("A: %d", adc_sequence);
	// LOG_INF("R: %d", (int)resistance);
	// LOG_INF("T: %d", value);

	return value;
}

void AppTask::SensorMeasureHandler()
{
	// Switch on the power pins. Let the power stay on for a short period of
	// time so the voltage stabalises.
	//
	gpio_pin_set_dt(&probe_1_divider_power, 1);
	k_sleep(K_MSEC(2));

	int16_t probe_1_temperature = read_probe_temperature(1) * 100; // Convert temperature to Matter
	gpio_pin_set_dt(&probe_1_divider_power, 0);

	// Leave a small gap between each reading.
	//
	k_sleep(K_MSEC(2));

	gpio_pin_set_dt(&probe_2_divider_power, 1);
	k_sleep(K_MSEC(2));

	int16_t probe_2_temperature = read_probe_temperature(2) * 100; // Convert temperature to Matter
	gpio_pin_set_dt(&probe_2_divider_power, 0);

	// With both readings taken, update both of the clusters.
	//
	chip::app::Clusters::TemperatureMeasurement::Attributes::MeasuredValue::Set(1, probe_1_temperature);
	chip::app::Clusters::TemperatureMeasurement::Attributes::MeasuredValue::Set(2, probe_2_temperature);
}

/// @brief Customises the PowerSource cluster.
/// @param endpoint
void emberAfPowerSourceClusterInitCallback(chip::EndpointId endpoint)
{
	LOG_INF("emberAfPowerSourceClusterServerInitCallback()");

	Clusters::PowerSource::Attributes::Status::Set(endpoint, Clusters::PowerSource::PowerSourceStatusEnum::kActive);

	Clusters::PowerSource::Attributes::Order::Set(endpoint, 0);

	Clusters::PowerSource::Attributes::Description::Set(endpoint, chip::CharSpan::fromCharString("Power"));

#ifdef CONFIG_PM_DEVICE
	Clusters::PowerSource::Attributes::BatChargeLevel::Set(endpoint, Clusters::PowerSource::BatChargeLevelEnum::kOk);
	Clusters::PowerSource::Attributes::BatReplacementNeeded::Set(endpoint, false);
	Clusters::PowerSource::Attributes::BatReplaceability::Set(endpoint, Clusters::PowerSource::BatReplaceabilityEnum::kUserReplaceable);
#else
	Clusters::PowerSource::Attributes::WiredCurrentType::Set(endpoint, Clusters::PowerSource::WiredCurrentTypeEnum::kDc);
#endif
}
```

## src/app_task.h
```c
/*
 * Copyright (c) 2021 Nordic Semiconductor ASA
 *
 * SPDX-License-Identifier: LicenseRef-Nordic-5-Clause
 */

#pragma once

#include <platform/CHIPDeviceLayer.h>

using namespace ::chip::DeviceLayer;

struct Identify;

class AppTask
{
public:
	static AppTask &Instance()
	{
		static AppTask sAppTask;
		return sAppTask;
	};

	CHIP_ERROR StartApp();

	static void IdentifyStartHandler(Identify *);
	static void IdentifyStopHandler(Identify *);

private:
	CHIP_ERROR Init();

	static void MatterEventHandler(const ChipDeviceEvent *event, intptr_t data);
	static void SensorMeasureHandler();
	static void SensorTimerCallback(k_timer *timer);
	static void IndicatorTimerCallback(k_timer *timer);
	static void FactoryResetTimerCallback(k_timer *timer);

	static void ResetButtonCallback(const struct device *dev, struct gpio_callback *cb, uint32_t pins);

	void ConfigureGPIO();
};
```
